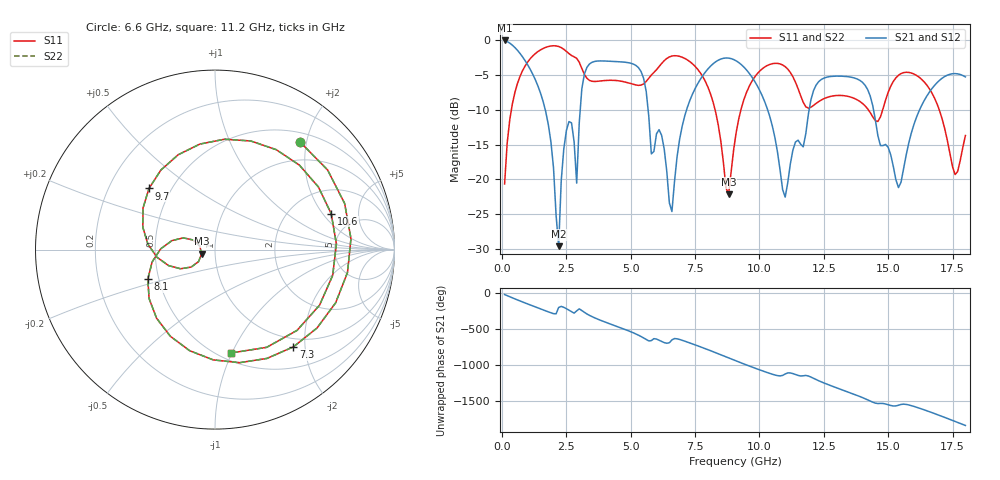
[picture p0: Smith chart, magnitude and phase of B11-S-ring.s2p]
! yapnr rf coupon B: B11 RING S (ring, family S)
! stackup JLC06161H-7628, nominal parameters; reference planes 10 mm from each end; 50 ohm (renormalized from the line's Zc)
! model: 2D quasi-static RLGC (Djordjevic-Sarkar, Huray roughness, Wheeler loss); generated by python -m yapnr.rf.coupons expected
# GHz S DB R 50
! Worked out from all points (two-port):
!   180 points, 100 MHz to 18 GHz, reference 50 ohm
!   highest |S21| = -0.11 dB at 100 MHz (marker M1); lowest = -29.6 dB at 2.2 GHz (marker M2)
!   |S21| within 3 dB of the highest: start of sweep to 914.6 MHz; 8.323 GHz to 9.129 GHz (806.6 MHz wide, 9.24 % of centre)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
!   lowest |S11| = -22.1 dB at 8.8 GHz (marker M3), VSWR 1.17, Z = 43 - j2.04 ohm
!   |S11| at or under -10 dB: 8.273 GHz to 9.283 GHz (1.01 GHz wide, 11.5 % of centre); 14.22 GHz to 14.79 GHz (567.6 MHz wide, 3.91 % of centre); 16.98 GHz to end of sweep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
!   |S22| runs from -22.1 to -0.9 dB; largest |S21 - S12| = 0
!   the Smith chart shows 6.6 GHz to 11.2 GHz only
!   S11 on the Smith chart (normalised r, x): 6.6 GHz: 0.65, +1.88; 7.3 GHz: 0.84, -1.77; 8.1 GHz: 0.43, -0.17; 9.7 GHz: 0.38, +0.34; 10.6 GHz: 3.29, +2.44; 11.2 GHz: 0.57, -0.99
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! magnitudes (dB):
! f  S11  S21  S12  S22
! 100 MHz  -20.6  -0.1  -0.1  -20.6
! 500 MHz  -7.5  -1.1  -1.1  -7.5
! 1.6 GHz  -1.2  -8.9  -8.9  -1.2
! 2.2 GHz  -1.0  -29.6  -29.6  -1.0
! 2.5 GHz  -1.7  -13.0  -13.0  -1.7
! 2.9 GHz  -2.7  -20.5  -20.5  -2.7
! 3.1 GHz  -4.1  -7.0  -7.0  -4.1
! 5.2 GHz  -6.5  -3.7  -3.7  -6.5
! 6.1 GHz  -3.9  -12.9  -12.9  -3.9
! 6.6 GHz  -2.3  -24.6  -24.6  -2.3
! 7.3 GHz  -3.1  -8.7  -8.7  -3.1
! 8.1 GHz  -7.8  -3.8  -3.8  -7.8
! 8.8 GHz  -22.1  -2.6  -2.6  -22.1
! 9.1 GHz  -13.2  -3.0  -3.0  -13.2
! 9.7 GHz  -6.0  -5.3  -5.3  -6.0
! 10.6 GHz  -3.4  -14.0  -14.0  -3.4
! 11.2 GHz  -4.7  -17.8  -17.8  -4.7
! 12.1 GHz  -9.4  -7.3  -7.3  -9.4
! 14 GHz  -9.1  -6.1  -6.1  -9.1
! 15.1 GHz  -6.7  -16.5  -16.5  -6.7
! 17.6 GHz  -19.3  -4.9  -4.9  -19.3
! 18 GHz  -13.7  -5.3  -5.3  -13.7
